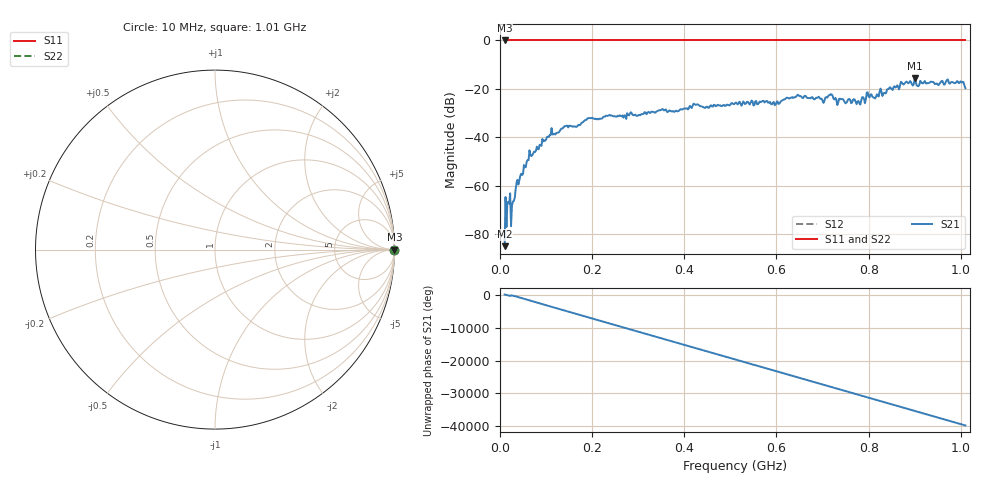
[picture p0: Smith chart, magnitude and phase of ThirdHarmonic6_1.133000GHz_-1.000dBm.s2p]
! 8/16/2025 11:02:55 AM
! C:\ANRITSUVNA\TEMP\TEMP.S2P
! CHANNEL.1
! TR.MEASUREMENT
! RAW.DATA
! RF.CORRECTION.OFF
! AVERAGING.OFF
! IF.BANDWIDTH: 5KHZ
! SWEEPTYPE:  FREQ.SWEEP(Linear)
! Reference Plane Port Info
! PORT:  PORT1  PORT2
! DISTANCE:  0  m  0  m
! TIME:  0  s  0  s
! PHASE.OFFSET:  0  deg.  0  deg.
! LOSS:  0  dB  0  dB
! REF.LOSS:  0  dB  0  dB
! REF.FREQ:  0  Hz  0  Hz
! Power Info
! POWER:  -20  dBm  -20  dBm
! EFF.POWER:  -20  dBm  -20  dBm
! SOURCE.ATTEN:  0  dB  0  dB
! TEST.ATTEN:  0  dB  0  dB
# GHZ S RI R 50.0
! FREQ.GHZ  S11RE  S11IM  S21RE  S21IM  S12RE  S12IM  S22RE  S22IM
!; PortSelection: Port_12
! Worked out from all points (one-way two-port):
!   501 points, 10 MHz to 1.01 GHz, reference 50 ohm
!   highest |S21| = -15.66 dB at 900 MHz (marker M1); lowest = -84.9 dB at 10 MHz (marker M2)
!   lowest |S11| = 0.0 dB at 10 MHz (marker M3)
!   |S11| at or under -10 dB: nowhere
!   |S22| runs from 0.0 to 0.0 dB; largest |S21 - S12| = 1.1
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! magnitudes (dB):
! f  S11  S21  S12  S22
! 10 MHz  0.0  -84.9  0.0  0.0
! 16 MHz  0.0  -66.8  0.0  0.0
! 28 MHz  0.0  -66.5  0.0  0.0
! 38 MHz  0.0  -57.5  0.0  0.0
! 62 MHz  0.0  -49.3  0.0  0.0
! 108 MHz  0.0  -39.0  0.0  0.0
! 178 MHz  0.0  -33.9  0.0  0.0
! 196 MHz  0.0  -32.1  0.0  0.0
! 344 MHz  0.0  -29.0  0.0  0.0
! 510 MHz  0.0  -25.9  0.0  0.0
! 594 MHz  0.0  -25.4  0.0  0.0
! 648 MHz  0.0  -22.6  0.0  0.0
! 678 MHz  0.0  -23.4  0.0  0.0
! 700 MHz  0.0  -24.9  0.0  0.0
! 718 MHz  0.0  -22.2  0.0  0.0
! 730 MHz  0.0  -24.4  0.0  0.0
! 778 MHz  0.0  -25.0  0.0  0.0
! 800 MHz  0.0  -23.1  0.0  0.0
! 844 MHz  0.0  -19.9  0.0  0.0
! 900 MHz  0.0  -15.7  0.0  0.0
! 1.002 GHz  0.0  -17.4  0.0  0.0
! 1.01 GHz  0.0  -19.7  0.0  0.0
